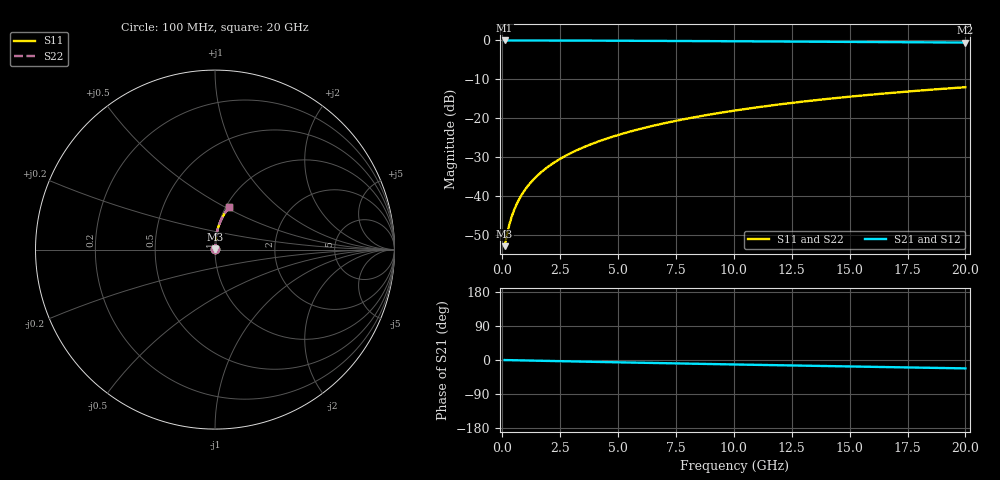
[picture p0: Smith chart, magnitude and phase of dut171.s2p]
! Touchstone file exported from HFSS 2024.1.0
!  File:  C:/UserFiles/LocalFiles/RDL_TSV_Batchsim/temp_RDL_bottom_171_1778698257.aedt
!  Generated:  02:53:30 AM May 14, 2026
!  Design:  RDL_bottom
!  Project:  temp_RDL_bottom_171_1778698257
!  Setup:  Setup1
!  Solution:  Sweep
! Variables:
!  dtsv = 10.80580581um
!  hbump = 3um
!  htsv = 56.21um
!  ldown = 280.08um
!  lrdl = 100um
!  p = 40
!  p1 = 44.84um
!  rhole = 1um
!  t = 450um
!  tdown = 3.4um
!  trdl = 3.915915916um
!  wdown = 17.09um
!  wrdl = 20um
# GHz S MA R 50.000000
! Terminal data exported
! Port[1] = RDL1_T1
! Port[2] = RDL1_T2
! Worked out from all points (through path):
!   200 points, 100 MHz to 20 GHz, reference 50 ohm
!   highest |S21| = -0.02 dB at 100 MHz (marker M1); lowest = -0.6 dB at 20 GHz (marker M2)
!   group delay of S21, straight-line fit = 3.05 ps
!   lowest |S11| = -52.8 dB at 100 MHz (marker M3), VSWR 1.00, Z = 50.2 + j0.129 ohm
!   |S11| at or under -10 dB: start of sweep to end of sweep
!   |S22| runs from -52.8 to -12.0 dB; largest |S21 - S12| = 3.5e-15
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0.1  0.002289 34.1  0.9981 -0.1  0.9981 -0.1  0.002289 34.1
! Gamma 0 0 0 0
! Port Impedance 50 0 50 0
0.2  0.003204 52.6  0.998 -0.3  0.998 -0.3  0.003204 52.6
0.3  0.004279 62.0  0.998 -0.4  0.998 -0.4  0.004279 62.0
0.4  0.0054 67.4  0.9979 -0.5  0.9979 -0.5  0.0054 67.4
0.5  0.006537 71.0  0.9978 -0.6  0.9978 -0.6  0.006537 71.0
0.6  0.007682 73.5  0.9977 -0.8  0.9977 -0.8  0.007682 73.5
0.8  0.009992 77.0  0.9976 -1.0  0.9976 -1.0  0.009992 77.0
1.1  0.0135 80.0  0.9973 -1.4  0.9973 -1.4  0.0135 80.0
1.3  0.01585 81.3  0.9972 -1.6  0.9972 -1.6  0.01585 81.3
1.6  0.01941 82.6  0.9969 -2.0  0.9969 -2.0  0.01941 82.6
2.1  0.0254 84.0  0.9962 -2.6  0.9962 -2.6  0.0254 84.0
2.7  0.03264 84.8  0.9953 -3.4  0.9953 -3.4  0.03264 84.8
3.5  0.04242 85.3  0.9938 -4.3  0.9938 -4.3  0.04242 85.3
4.2  0.05107 85.4  0.9922 -5.2  0.9922 -5.2  0.05107 85.4
5  0.06107 85.2  0.9902 -6.1  0.9902 -6.1  0.06107 85.2
5.9  0.07245 84.9  0.9877 -7.2  0.9877 -7.2  0.07245 84.9
6.8  0.08394 84.4  0.9851 -8.2  0.9851 -8.2  0.08394 84.4
8.4  0.1046 83.2  0.98 -10.0  0.98 -10.0  0.1046 83.2
10.1  0.1266 81.7  0.9743 -11.9  0.9743 -11.9  0.1266 81.7
13.4  0.1692 78.4  0.9627 -15.4  0.9627 -15.4  0.1692 78.4
16.7  0.2108 74.9  0.9505 -18.8  0.9505 -18.8  0.2108 74.9
20  0.2508 71.4  0.9377 -22.1  0.9377 -22.1  0.2508 71.4
